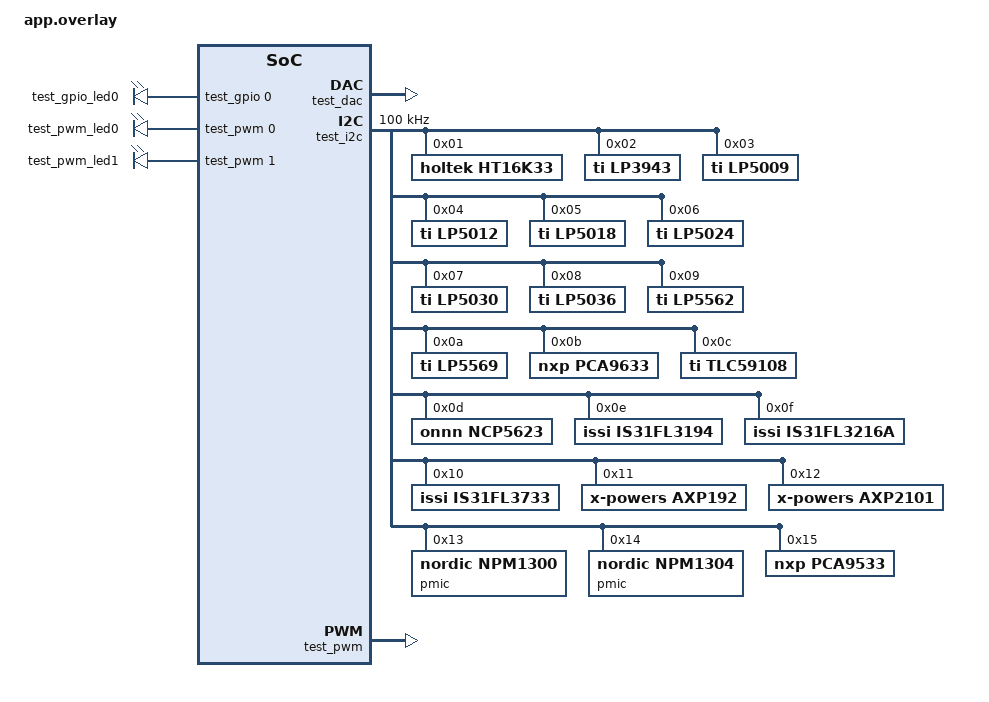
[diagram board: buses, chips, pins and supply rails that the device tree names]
/*
 * Copyright (c) 2020, Linaro Ltd.
 *
 * SPDX-License-Identifier: Apache-2.0
 *
 * Application overlay for testing driver builds
 *
 * Names in this file should be chosen in a way that won't conflict
 * with real-world devicetree nodes, to allow these tests to run on
 * (and be extended to test) real hardware.
 */

/ {
	test {
		#address-cells = <1>;
		#size-cells = <1>;

		test_dac: dac@dac0dac0 {
			compatible = "vnd,dac";
			reg = <0xdac0dac0 0x1000>;
			status = "okay";
			#io-channel-cells = <1>;
		};

		test_dac_leds {
			compatible = "dac-leds";
			test_dac_led0: test_dac_led_0 {
				dac-dev = <&test_dac>;
				channel = <0>;
				resolution = <16>;
				voltage-min-brightness-mv = <123>;
				voltage-max-brightness-mv = <1234>;
				voltage-max-dac-mv = <3456>;
				output-buffer;
			};
		};

		test_gpio: gpio@deadbeef {
			compatible = "vnd,gpio";
			gpio-controller;
			reg = <0xdeadbeef 0x1000>;
			#gpio-cells = <0x2>;
			status = "okay";
		};

		test_gpio_leds {
			compatible = "gpio-leds";
			test_gpio_led0: test_gpio_led_0 {
				gpios = <&test_gpio 0 0>;
			};
		};

		test_i2c: i2c@11112222 {
			#address-cells = <1>;
			#size-cells = <0>;
			compatible = "vnd,i2c";
			reg = <0x11112222 0x1000>;
			status = "okay";
			clock-frequency = <100000>;

			ht16k33@1 {
				compatible = "holtek,ht16k33";
				reg = <0x1>;
				#address-cells = <1>;
				#size-cells = <0>;
			};

			lp3943@2 {
				compatible = "ti,lp3943";
				reg = <0x2>;
			};

			lp5009@3 {
				compatible = "ti,lp5009";
				reg = <0x3>;
			};

			lp5012@4 {
				compatible = "ti,lp5012";
				reg = <0x4>;
			};

			lp5018@5 {
				compatible = "ti,lp5018";
				reg = <0x5>;
			};

			lp5024@6 {
				compatible = "ti,lp5024";
				reg = <0x6>;
			};

			lp5030@7 {
				compatible = "ti,lp5030";
				reg = <0x7>;
			};

			lp5036@8 {
				compatible = "ti,lp5036";
				reg = <0x8>;
			};

			lp5562@9 {
				compatible = "ti,lp5562";
				reg = <0x9>;
			};

			lp5569@a {
				compatible = "ti,lp5569";
				reg = <0xa>;
			};

			pca9633@b {
				compatible = "nxp,pca9633";
				reg = <0xb>;
			};

			tlc59108@c {
				compatible = "ti,tlc59108";
				reg = <0xc>;
			};

			ncp5623@d {
				compatible = "onnn,ncp5623";
				reg = <0xd>;
			};

			is31fl3194@e {
				compatible = "issi,is31fl3194";
				reg = <0xe>;
				led_rgb {
					label = "led_rgb";
					color-mapping = <0>, <1>, <2>;
					current-limit = <10>;
				};
			};

			is31fl3216a@f {
				compatible = "issi,is31fl3216a";
				reg = <0xf>;
			};

			is31fl3733@10 {
				compatible = "issi,is31fl3733";
				reg = <0x10>;
			};

			axp192@11 {
				compatible = "x-powers,axp192";
				reg = <0x11>;
				status = "okay";

				pwr_led {
					compatible = "x-powers,axp192-led";
					status = "okay";
					x-powers,mode = "by-reg";
				};
			};

			axp2101@12 {
				compatible = "x-powers,axp2101";
				reg = <0x12>;
				status = "okay";

				pwr_led {
					compatible = "x-powers,axp2101-led";
					status = "okay";
					x-powers,mode = "by-reg";
				};
			};

			pmic@13 {
				compatible = "nordic,npm1300";
				reg = <0x13>;

				leds {
					compatible = "nordic,npm1300-led";
					nordic,led0-mode = "error";
					nordic,led1-mode = "charging";
					nordic,led2-mode = "host";
				};
			};

			pmic@14 {
				compatible = "nordic,npm1304";
				reg = <0x14>;

				leds {
					compatible = "nordic,npm1304-led";
					nordic,led0-mode = "error";
					nordic,led1-mode = "charging";
					nordic,led2-mode = "host";
				};
			};

			pca9533@15 {
				compatible = "nxp,pca9533";
				reg = <0x15>;
			};
		};

		test_pwm: pwm@12341234 {
			compatible = "vnd,pwm";
			reg = <0x12341234 0x1000>;
			#pwm-cells = <3>;
			status = "okay";
		};

		test_pwm_leds {
			compatible = "pwm-leds";
			status = "okay";
			test_pwm_led0: test_pwm_led_0 {
				pwms = <&test_pwm 0 0 0>;
			};
			test_pwm_led1: test_pwm_led_1 {
				pwms = <&test_pwm 1 0 0>;
			};
		};

		multi-led {
			compatible = "leds-group-multicolor";
			leds = <&test_pwm_led0>, <&test_pwm_led1>;
		};
	};
};
